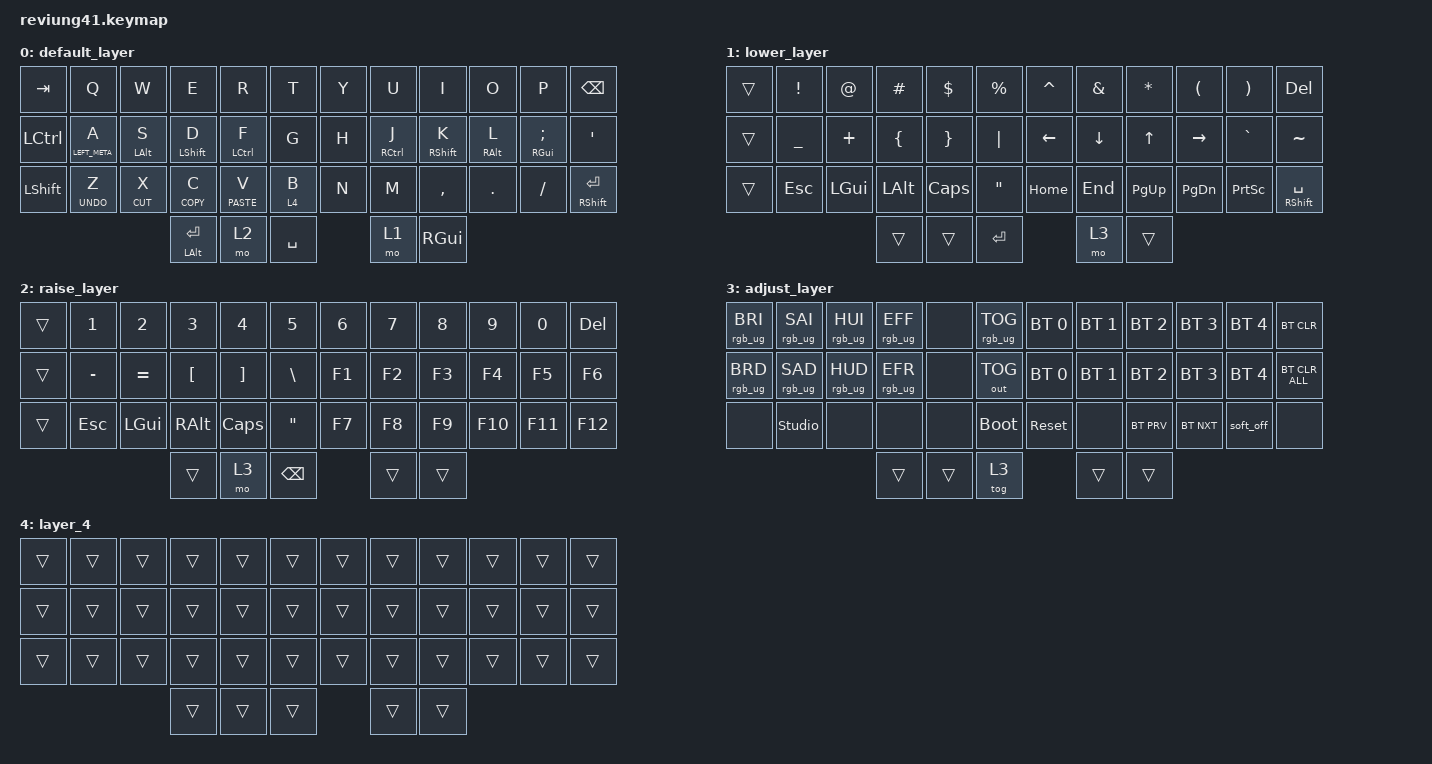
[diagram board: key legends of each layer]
/*
 * Copyright (c) 2020 The ZMK Contributors
 *
 * SPDX-License-Identifier: MIT
 */

#include <behaviors.dtsi>
#include <dt-bindings/zmk/bt.h>
#include <dt-bindings/zmk/keys.h>
#include <dt-bindings/zmk/outputs.h>
#include <dt-bindings/zmk/rgb.h>

/ {
    behaviors {
        HMR: HMR {
            compatible = "zmk,behavior-hold-tap";
            label = "HMR";
            bindings = <&kp>, <&kp>;

            #binding-cells = <2>;
            tapping-term-ms = <500>;
            quick-tap-ms = <280>;
            hold-trigger-on-release;
        };

    };

    keymap {
        compatible = "zmk,keymap";

        default_layer {
            // -------------------------------------------------------------------------------------
            // |  TAB |  Q  |  W  |  E  |  R  |  T  |   |  Y  |  U   |  I  |  O  |  P  |   BSPC    |
            // | CTRL |  A  |  S  |  D  |  F  |  G  |   |  H  |  J   |  K  |  L  |  ;  |    '      |
            // | SHFT |  Z  |  X  |  C  |  V  |  B  |   |  N  |  M   |  ,  |  .  |  /  | SHFT(RET) |
            //                         | ALT | LWR | SPC | RSE  | ALT |

            bindings = <
&kp TAB    &kp Q             &kp W            &kp E              &kp R                &kp T               &kp Y  &kp U                 &kp I               &kp O             &kp P                     &kp BSPC
&kp LCTRL  &HMR LEFT_META A  &HMR LEFT_ALT S  &HMR LEFT_SHIFT D  &HMR LEFT_CONTROL F  &kp G               &kp H  &HMR RIGHT_CONTROL J  &HMR RIGHT_SHIFT K  &HMR RIGHT_ALT L  &HMR RIGHT_GUI SEMICOLON  &kp SQT
&kp LSHFT  &HMR K_UNDO Z     &HMR K_CUT X     &HMR K_COPY C      &HMR K_PASTE V       &lt 4 B             &kp N  &kp M                 &kp COMMA           &kp DOT           &kp FSLH                  &mt RSHFT RET
                                              &mt LALT ENTER     &mo 2                         &kp SPACE         &mo 1                 &kp RGUI
            >;
        };

        lower_layer {
            // ------------------------------------------------------------------------------------
            // |    |  !  |  @  |  #  |  $  |  %  |   |  ^  |  &  |  *  |  (  |  )  |      DEL    |
            // |    |  _  |  +  |  {  |  }  | "|" |   | LFT | DWN |  UP | RGT |  `  |       ~     |
            // |    | ESC | GUI | ALT | CAPS|  "  |   | HOME| END | PGUP| PGDN| PRSC| SHFT(SPACE) |
            //                       |     |     | RET | ADJ |     |

            bindings = <
&trans  &kp EXCL   &kp AT    &kp HASH  &kp DLLR  &kp PRCNT           &kp CARET  &kp AMPS  &kp ASTRK  &kp LPAR   &kp RPAR   &kp DEL
&trans  &kp UNDER  &kp PLUS  &kp LBRC  &kp RBRC  &kp PIPE            &kp LEFT   &kp DOWN  &kp UP     &kp RIGHT  &kp GRAVE  &kp TILDE
&trans  &kp ESC    &kp LGUI  &kp LALT  &kp CLCK  &kp DQT             &kp HOME   &kp END   &kp PG_UP  &kp PG_DN  &kp PSCRN  &mt RSHFT SPACE
                             &trans    &trans               &kp RET             &mo 3     &trans
            >;
        };

        raise_layer {
            // ----------------------------------------------------------------------------
            // |    |  1  |  2  |  3  |  4  |  5  |   |  6  |  7  |  8  |  9  |  0  | DEL |
            // |    |  -  |  =  |  [  |  ]  |  \  |   | F1  | F2  | F3  | F4  | F5  | F6  |
            // |    | ESC | GUI | ALT | CAPS|  "  |   | F7  | F8  | F9  | F10 | F11 | F12 |
            //                       |     | ADJ | BSPC |    |     |

            bindings = <
&trans  &kp N1     &kp N2     &kp N3    &kp N4    &kp N5              &kp N6  &kp N7  &kp N8  &kp N9   &kp N0   &kp DEL
&trans  &kp MINUS  &kp EQUAL  &kp LBKT  &kp RBKT  &kp BSLH            &kp F1  &kp F2  &kp F3  &kp F4   &kp F5   &kp F6
&trans  &kp ESC    &kp LGUI   &kp RALT  &kp CLCK  &kp DQT             &kp F7  &kp F8  &kp F9  &kp F10  &kp F11  &kp F12
                              &trans    &mo 3               &kp BSPC          &trans  &trans
            >;
        };

        adjust_layer {
            // -----------------------------------------------------------------------------------------
            // | RGB BRI+ | RGB SAT+ | RGB HUE+ | RGB ANI+ |    | RGB TOG |   |  BT1  | BT2 | BT3 | BT4 | BT5 | BT CLR |
            // | RGB BRI- | RGB SAT- | RGB HUE- | RGB ANI- |    |         |   |       |     |     |     |     |        |
            // |          |          |          |          |    |         |   | RESET |     |     |     |     |        |
            //                                              |     |     |     |     |     |

            bindings = <
&rgb_ug RGB_BRI  &rgb_ug RGB_SAI  &rgb_ug RGB_HUI  &rgb_ug RGB_EFF  &none   &rgb_ug RGB_TOG          &bt BT_SEL 0  &bt BT_SEL 1  &bt BT_SEL 2  &bt BT_SEL 3  &bt BT_SEL 4  &bt BT_CLR
&rgb_ug RGB_BRD  &rgb_ug RGB_SAD  &rgb_ug RGB_HUD  &rgb_ug RGB_EFR  &none   &out OUT_TOG             &bt BT_SEL 0  &bt BT_SEL 1  &bt BT_SEL 2  &bt BT_SEL 3  &bt BT_SEL 4  &bt BT_CLR_ALL
&none            &studio_unlock   &none            &none            &none   &bootloader              &sys_reset    &none         &bt BT_PRV    &bt BT_NXT    &soft_off     &none
                                                   &trans           &trans                   &tog 3                &trans        &trans
            >;
        };

        layer_4 {
            bindings = <
&trans  &trans  &trans  &trans  &trans  &trans          &trans  &trans  &trans  &trans  &trans  &trans
&trans  &trans  &trans  &trans  &trans  &trans          &trans  &trans  &trans  &trans  &trans  &trans
&trans  &trans  &trans  &trans  &trans  &trans          &trans  &trans  &trans  &trans  &trans  &trans
                        &trans  &trans          &trans          &trans  &trans
            >;
        };
    };
};
